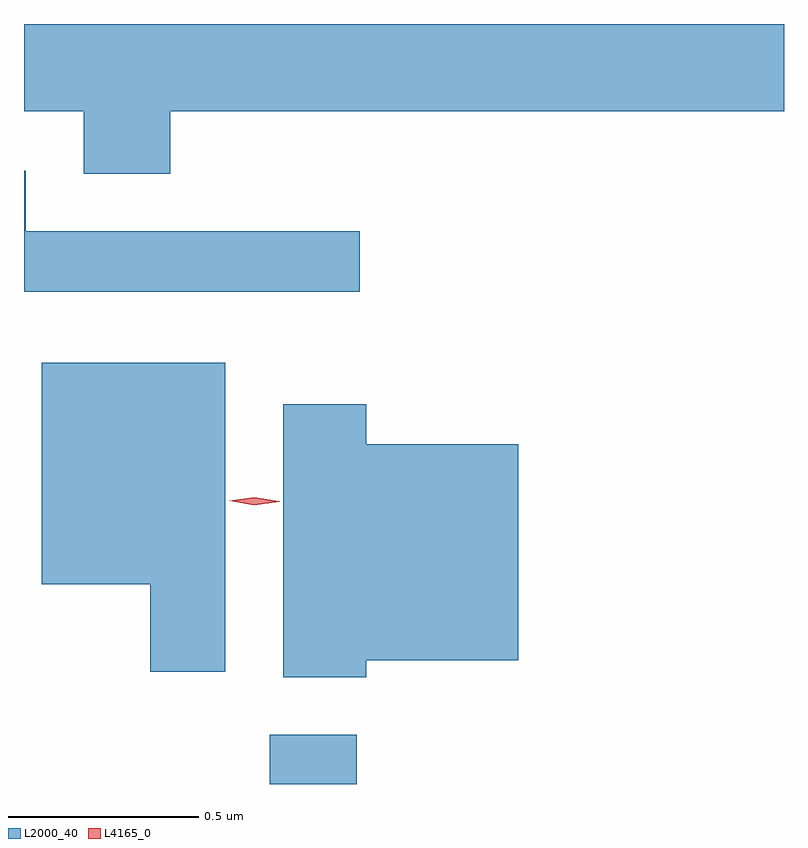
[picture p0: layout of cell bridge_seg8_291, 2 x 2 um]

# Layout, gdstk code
import gdstk
lib = gdstk.Library(unit=1e-6, precision=1e-09)
def R(c, l, rs):  # rectangles x0, y0, x1, y1
    for r in rs: c.add(gdstk.rectangle(r[:2], r[2:], *l))
def P(c, l, *ps):  # polygons
    for p in ps: c.add(gdstk.Polygon(p, *l))
L2000_40 = (2000, 40)
L4165_0 = (4165, 0)

bridge_seg8_291 = lib.new_cell('bridge_seg8_291')
R(bridge_seg8_291, L2000_40, [(1266.411,1834.645,1266.639,1834.774)])
P(bridge_seg8_291, L2000_40, [(1266.149,1836.416),(1267.764,1836.416),(1267.764,1836.645),(1265.764,1836.645),(1265.764,1836.416),(1265.921,1836.416),(1265.921,1836.251),(1266.149,1836.251)],
  [(1266.648,1836.099),(1265.769,1836.099),(1265.769,1836.259),(1265.764,1836.259),(1265.764,1835.941),(1266.648,1835.941)],
  [(1266.294,1835.754),(1265.811,1835.754),(1265.811,1835.171),(1266.096,1835.171),(1266.096,1834.941),(1266.294,1834.941)],
  [(1266.664,1834.971),(1267.064,1834.971),(1267.064,1835.539),(1266.664,1835.539),(1266.664,1835.644),(1266.446,1835.644),(1266.446,1834.926),(1266.664,1834.926)])
P(bridge_seg8_291, L4165_0, [(1266.37,1835.379),(1266.304,1835.39),(1266.304,1835.39),(1266.304,1835.391),(1266.37,1835.399),(1266.436,1835.389),(1266.437,1835.389),(1266.436,1835.388)])

lib.write_gds('bridge_seg8_291.gds')
